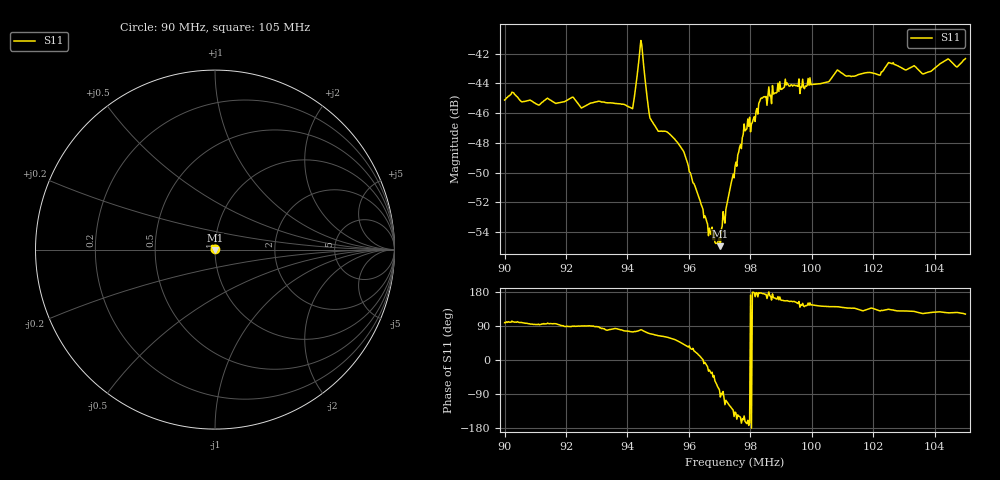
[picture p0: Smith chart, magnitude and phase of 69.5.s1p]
# HZ S RI R 50
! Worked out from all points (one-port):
!   505 points, 90 MHz to 105 MHz, reference 50 ohm
!   lowest |S11| = -54.9 dB at 97.02 MHz (marker M1), VSWR 1.00, Z = 50 - j0.177 ohm
!   |S11| at or under -10 dB: start of sweep to end of sweep
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9e7  -0.000831 0.00548
9.026786e7  -0.00109 0.00578
9.107143e7  -0.000328 0.00534
9.187501e7  -4.22e-05 0.00546
9.375001e7  0.000904 0.00531
9.416668e7  0.00142 0.00499
9.443454e7  0.00156 0.00865
9.449406e7  0.00167 0.00768
9.467263e7  0.00173 0.00502
9.476192e7  0.00172 0.00445
9.562502e7  0.00253 0.00309
9.589288e7  0.00279 0.00222
9.666669e7  0.00185 -0.000916
9.690478e7  0.000791 -0.00165
9.702383e7  -0.000242 -0.00178
9.750002e7  -0.00244 -0.00223
9.779764e7  -0.00389 -0.00247
9.80655e7  -0.00466 0.000107
9.833336e7  -0.00559 0.000306
9.937503e7  -0.00554 0.00272
1.00506e8  -0.00496 0.00401
1.008334e8  -0.00542 0.00442
1.0125e8  -0.00489 0.00455
1.021727e8  -0.0044 0.0051
1.025298e8  -0.00508 0.00537
1.03125e8  -0.00445 0.00546
1.036608e8  -0.00371 0.0057
1.05e8  -0.00396 0.00653
